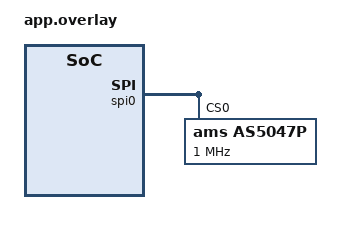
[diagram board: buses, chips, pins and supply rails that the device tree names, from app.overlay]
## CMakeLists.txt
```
cmake_minimum_required(VERSION 3.20.0)
find_package(Zephyr REQUIRED HINTS $ENV{ZEPHYR_BASE})
project(sensor_as5047p)

target_sources(app PRIVATE src/main.c)
```

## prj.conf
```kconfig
CONFIG_ZTEST=y
CONFIG_SENSOR=y
CONFIG_SPI=y
CONFIG_EMUL=y
CONFIG_SPI_EMUL=y
CONFIG_AS5047P=y
```

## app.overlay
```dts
&spi0 {
	as5047p: as5047p@0 {
		compatible = "ams,as5047p";
		reg = <0>;
		spi-max-frequency = <1000000>;
		status = "okay";
	};
};
```

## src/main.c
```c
/*
 * Copyright (c) 2026 Forte Fibre
 *
 * SPDX-License-Identifier: Apache-2.0
 */

#define DT_DRV_COMPAT ams_as5047p

#include <errno.h>
#include <string.h>

#include <zephyr/device.h>
#include <zephyr/devicetree.h>
#include <zephyr/drivers/emul.h>
#include <zephyr/drivers/sensor.h>
#include <zephyr/drivers/spi.h>
#include <zephyr/drivers/spi_emul.h>
#include <zephyr/sys/util.h>
#include <zephyr/ztest.h>

#include <drivers/sensor/as5047p.h>

#define AS5047P_NODE DT_NODELABEL(as5047p)

#define AS5047P_REG_NOP       0x0000U
#define AS5047P_REG_ZPOSM     0x0016U
#define AS5047P_REG_ZPOSL     0x0017U
#define AS5047P_REG_SETTINGS1 0x0018U
#define AS5047P_REG_SETTINGS2 0x0019U
#define AS5047P_REG_ANGLECOM  0x3FFFU

#define AS5047P_FRAME_RW     BIT(14)
#define AS5047P_FRAME_EF     BIT(14)
#define AS5047P_FRAME_PARITY BIT(15)
#define AS5047P_DATA_MASK    GENMASK(13, 0)
#define AS5047P_ZPOSL_KEEP   GENMASK(13, 6)

struct as5047p_emul_data {
	uint16_t anglecom;
	uint16_t zposm;
	uint16_t zposl;
	uint16_t settings1;
	uint16_t settings2;
	uint16_t pending_response;
	uint16_t pending_write_addr;
	bool write_pending;
	bool inject_ef;
	bool inject_bad_parity;
};

static bool frame_even_parity(uint16_t frame)
{
	return (__builtin_popcount(frame) & 1) == 0;
}

static uint16_t frame_add_parity(uint16_t frame)
{
	if (!frame_even_parity(frame)) {
		frame |= AS5047P_FRAME_PARITY;
	}

	return frame;
}

static uint16_t response_frame(uint16_t value, bool ef)
{
	uint16_t frame = value & AS5047P_DATA_MASK;

	if (ef) {
		frame |= AS5047P_FRAME_EF;
	}

	return frame_add_parity(frame);
}

static uint16_t emul_read_reg(struct as5047p_emul_data *data, uint16_t reg)
{
	switch (reg) {
	case AS5047P_REG_ZPOSM:
		return data->zposm;
	case AS5047P_REG_ZPOSL:
		return data->zposl;
	case AS5047P_REG_SETTINGS1:
		return data->settings1;
	case AS5047P_REG_SETTINGS2:
		return data->settings2;
	case AS5047P_REG_ANGLECOM:
		return data->anglecom;
	default:
		return 0;
	}
}

static void emul_write_reg(struct as5047p_emul_data *data, uint16_t reg, uint16_t value)
{
	value &= AS5047P_DATA_MASK;

	switch (reg) {
	case AS5047P_REG_ZPOSM:
		data->zposm = value;
		break;
	case AS5047P_REG_ZPOSL:
		data->zposl = value;
		break;
	case AS5047P_REG_SETTINGS1:
		data->settings1 = value;
		break;
	case AS5047P_REG_SETTINGS2:
		data->settings2 = value;
		break;
	case AS5047P_REG_ANGLECOM:
		data->anglecom = value;
		break;
	default:
		break;
	}
}

static void emul_set_next_response(struct as5047p_emul_data *data, uint16_t value, bool ef)
{
	data->pending_response = response_frame(value, ef || data->inject_ef);

	if (data->inject_bad_parity) {
		data->pending_response ^= BIT(0);
	}

	data->inject_ef = false;
	data->inject_bad_parity = false;
}

static uint16_t first_tx_frame(const struct spi_buf_set *tx_bufs)
{
	const uint8_t *buf = tx_bufs->buffers[0].buf;

	return ((uint16_t)buf[0] << 8) | buf[1];
}

static void put_first_rx_frame(const struct spi_buf_set *rx_bufs, uint16_t frame)
{
	uint8_t *buf = rx_bufs->buffers[0].buf;

	buf[0] = frame >> 8;
	buf[1] = frame & 0xff;
}

static int as5047p_emul_io(const struct emul *target, const struct spi_config *config,
			   const struct spi_buf_set *tx_bufs, const struct spi_buf_set *rx_bufs)
{
	struct as5047p_emul_data *data = target->data;
	uint16_t tx_frame;
	uint16_t payload;
	bool is_read;

	if ((SPI_WORD_SIZE_GET(config->operation) != 8U) ||
	    ((config->operation & SPI_MODE_CPHA) == 0U)) {
		return -EIO;
	}

	if (tx_bufs == NULL || rx_bufs == NULL || tx_bufs->count < 1 || rx_bufs->count < 1 ||
	    tx_bufs->buffers[0].len != 2 || rx_bufs->buffers[0].len != 2) {
		return -EIO;
	}

	tx_frame = first_tx_frame(tx_bufs);
	put_first_rx_frame(rx_bufs, data->pending_response);

	if (!frame_even_parity(tx_frame)) {
		data->write_pending = false;
		emul_set_next_response(data, 0, true);
		return 0;
	}

	payload = tx_frame & AS5047P_DATA_MASK;
	is_read = (tx_frame & AS5047P_FRAME_RW) != 0U;

	if (data->write_pending) {
		emul_write_reg(data, data->pending_write_addr, payload);
		data->write_pending = false;
		emul_set_next_response(data, 0, false);
	} else if (is_read) {
		emul_set_next_response(data, emul_read_reg(data, payload), false);
	} else if (payload == AS5047P_REG_NOP) {
		emul_set_next_response(data, 0, false);
	} else {
		data->pending_write_addr = payload;
		data->write_pending = true;
		emul_set_next_response(data, 0, false);
	}

	return 0;
}

static int as5047p_emul_init(const struct emul *target, const struct device *parent)
{
	struct as5047p_emul_data *data = target->data;

	ARG_UNUSED(parent);
	memset(data, 0, sizeof(*data));
	data->pending_response = response_frame(0, false);

	return 0;
}

static struct spi_emul_api as5047p_emul_api = {
	.io = as5047p_emul_io,
};

#define AS5047P_EMUL_DEFINE(inst)                                                                  \
	static struct as5047p_emul_data as5047p_emul_data_##inst;                                  \
	EMUL_DT_INST_DEFINE(inst, as5047p_emul_init, &as5047p_emul_data_##inst, NULL,              \
			    &as5047p_emul_api, NULL);

DT_INST_FOREACH_STATUS_OKAY(AS5047P_EMUL_DEFINE)

static const struct device *const dev = DEVICE_DT_GET(AS5047P_NODE);
static const struct emul *const emul = EMUL_DT_GET(AS5047P_NODE);

static struct as5047p_emul_data *emul_data(void)
{
	return emul->data;
}

static void reset_emul(void)
{
	struct as5047p_emul_data *data = emul_data();

	memset(data, 0, sizeof(*data));
	data->pending_response = response_frame(0, false);
	data->zposl = AS5047P_ZPOSL_KEEP;
}

static void set_angle(uint16_t raw_angle)
{
	emul_data()->anglecom = raw_angle & AS5047P_DATA_MASK;
}

static void fetch_angle_and_expect(uint16_t raw_angle, int32_t degrees, int32_t micro)
{
	struct sensor_value val;

	set_angle(raw_angle);
	zassert_ok(sensor_sample_fetch(dev));
	zassert_ok(sensor_channel_get(dev, SENSOR_CHAN_ROTATION, &val));
	zassert_equal(val.val1, degrees);
	zassert_equal(val.val2, micro);
	zassert_ok(sensor_channel_get(dev, (enum sensor_channel)AS5047P_CHAN_RAW_ANGLE, &val));
	zassert_equal(val.val1, raw_angle);
	zassert_equal(val.val2, 0);
}

ZTEST(as5047p, test_device_ready)
{
	zassert_true(device_is_ready(dev));
}

ZTEST(as5047p, test_angle_conversion_and_raw_channel)
{
	fetch_angle_and_expect(0, 0, 0);
	fetch_angle_and_expect(8192, 180, 0);
	fetch_angle_and_expect(16383, 359, 978027);
}

ZTEST(as5047p, test_zero_position_attr)
{
	struct sensor_value val = { .val1 = 0x2aaa };

	zassert_ok(sensor_attr_set(dev, SENSOR_CHAN_ROTATION, AS5047P_ATTR_ZERO_POSITION, &val));
	zassert_equal(emul_data()->zposm, 0xaa);
	zassert_equal(emul_data()->zposl & GENMASK(5, 0), 0x2a);
	zassert_equal(emul_data()->zposl & AS5047P_ZPOSL_KEEP, AS5047P_ZPOSL_KEEP);

	val.val1 = 0;
	zassert_ok(sensor_attr_get(dev, SENSOR_CHAN_ROTATION, AS5047P_ATTR_ZERO_POSITION, &val));
	zassert_equal(val.val1, 0x2aaa);
	zassert_equal(val.val2, 0);
}

ZTEST(as5047p, test_settings_attrs)
{
	struct sensor_value val = { .val1 = 0x0123 };

	zassert_ok(sensor_attr_set(dev, SENSOR_CHAN_ROTATION, AS5047P_ATTR_SETTINGS1, &val));
	val.val1 = 0x2345;
	zassert_ok(sensor_attr_set(dev, SENSOR_CHAN_ROTATION, AS5047P_ATTR_SETTINGS2, &val));

	zassert_equal(emul_data()->settings1, 0x0123);
	zassert_equal(emul_data()->settings2, 0x2345);

	val.val1 = 0;
	zassert_ok(sensor_attr_get(dev, SENSOR_CHAN_ROTATION, AS5047P_ATTR_SETTINGS1, &val));
	zassert_equal(val.val1, 0x0123);
	zassert_ok(sensor_attr_get(dev, SENSOR_CHAN_ROTATION, AS5047P_ATTR_SETTINGS2, &val));
	zassert_equal(val.val1, 0x2345);
}

ZTEST(as5047p, test_spi_error_flags)
{
	emul_data()->inject_ef = true;
	zassert_equal(sensor_sample_fetch(dev), -EIO);

	emul_data()->inject_bad_parity = true;
	zassert_equal(sensor_sample_fetch(dev), -EIO);
}

ZTEST(as5047p, test_unsupported_channels_and_attrs)
{
	struct sensor_value val = { 0 };

	zassert_equal(sensor_sample_fetch_chan(dev, SENSOR_CHAN_AMBIENT_TEMP), -ENOTSUP);
	zassert_equal(sensor_channel_get(dev, SENSOR_CHAN_AMBIENT_TEMP, &val), -ENOTSUP);
	zassert_equal(sensor_attr_get(dev, SENSOR_CHAN_AMBIENT_TEMP, AS5047P_ATTR_SETTINGS1, &val),
		      -ENOTSUP);
	zassert_equal(sensor_attr_set(dev, SENSOR_CHAN_AMBIENT_TEMP, AS5047P_ATTR_SETTINGS1, &val),
		      -ENOTSUP);

	zassert_equal(sensor_attr_get(dev, SENSOR_CHAN_ROTATION, SENSOR_ATTR_SAMPLING_FREQUENCY,
				      &val),
		      -ENOTSUP);
	zassert_equal(sensor_attr_set(dev, SENSOR_CHAN_ROTATION, SENSOR_ATTR_SAMPLING_FREQUENCY,
				      &val),
		      -ENOTSUP);

	val.val1 = 0x4000;
	zassert_equal(sensor_attr_set(dev, SENSOR_CHAN_ROTATION, AS5047P_ATTR_SETTINGS1, &val),
		      -EINVAL);
}

static void before_each(void *fixture)
{
	ARG_UNUSED(fixture);
	reset_emul();
}

ZTEST_SUITE(as5047p, NULL, NULL, before_each, NULL, NULL);
```
